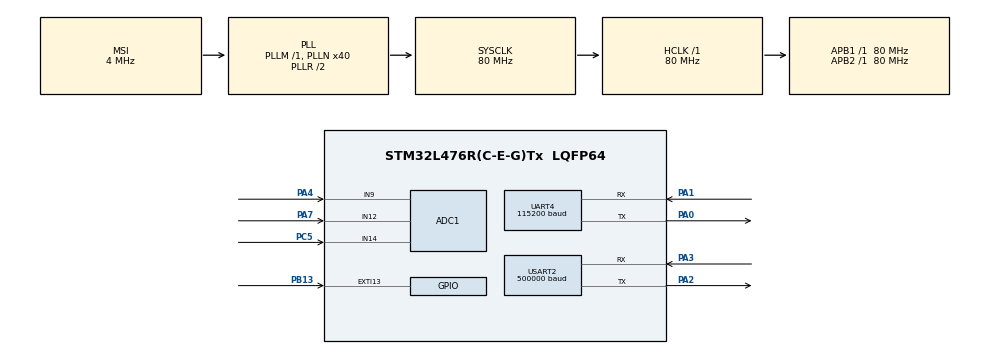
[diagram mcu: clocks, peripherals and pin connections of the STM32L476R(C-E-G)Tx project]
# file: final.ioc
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ADC1.Channel-0\#ChannelRegularConversion=ADC_CHANNEL_9
ADC1.Channel-1\#ChannelRegularConversion=ADC_CHANNEL_12
ADC1.Channel-2\#ChannelRegularConversion=ADC_CHANNEL_14
ADC1.DMAContinuousRequests=ENABLE
ADC1.ExternalTrigConv=ADC_EXTERNALTRIG_T3_TRGO
ADC1.NbrOfConversion=3
ADC1.NbrOfConversionFlag=1
ADC1.OffsetNumber-0\#ChannelRegularConversion=ADC_OFFSET_NONE
ADC1.OffsetNumber-1\#ChannelRegularConversion=ADC_OFFSET_NONE
ADC1.OffsetNumber-2\#ChannelRegularConversion=ADC_OFFSET_NONE
ADC1.Rank-0\#ChannelRegularConversion=1
ADC1.Rank-1\#ChannelRegularConversion=2
ADC1.Rank-2\#ChannelRegularConversion=3
ADC1.SamplingTime-0\#ChannelRegularConversion=ADC_SAMPLETIME_2CYCLES_5
ADC1.SamplingTime-1\#ChannelRegularConversion=ADC_SAMPLETIME_2CYCLES_5
ADC1.SamplingTime-2\#ChannelRegularConversion=ADC_SAMPLETIME_2CYCLES_5
ADC1.master=1
Dma.ADC1.0.Direction=DMA_PERIPH_TO_MEMORY
Dma.ADC1.0.Instance=DMA1_Channel1
Dma.ADC1.0.MemDataAlignment=DMA_MDATAALIGN_WORD
Dma.ADC1.0.MemInc=DMA_MINC_ENABLE
Dma.ADC1.0.Mode=DMA_CIRCULAR
Dma.ADC1.0.PeriphDataAlignment=DMA_PDATAALIGN_WORD
Dma.ADC1.0.PeriphInc=DMA_PINC_DISABLE
Dma.ADC1.0.Priority=DMA_PRIORITY_VERY_HIGH
Dma.Request0=ADC1
Dma.Request1=USART2_TX
Dma.Request2=UART4_TX
Dma.UART4_TX.2.Direction=DMA_MEMORY_TO_PERIPH
Dma.UART4_TX.2.Instance=DMA2_Channel3
Dma.UART4_TX.2.MemDataAlignment=DMA_MDATAALIGN_BYTE
Dma.UART4_TX.2.MemInc=DMA_MINC_ENABLE
Dma.UART4_TX.2.Mode=DMA_NORMAL
Dma.UART4_TX.2.PeriphDataAlignment=DMA_PDATAALIGN_BYTE
Dma.UART4_TX.2.PeriphInc=DMA_PINC_DISABLE
Dma.UART4_TX.2.Priority=DMA_PRIORITY_VERY_HIGH
Dma.USART2_TX.1.Direction=DMA_MEMORY_TO_PERIPH
Dma.USART2_TX.1.Instance=DMA1_Channel7
Dma.USART2_TX.1.MemDataAlignment=DMA_MDATAALIGN_BYTE
Dma.USART2_TX.1.MemInc=DMA_MINC_ENABLE
Dma.USART2_TX.1.Mode=DMA_NORMAL
Dma.USART2_TX.1.PeriphDataAlignment=DMA_PDATAALIGN_BYTE
Dma.USART2_TX.1.PeriphInc=DMA_PINC_DISABLE
Dma.USART2_TX.1.Priority=DMA_PRIORITY_LOW
Mcu.Family=STM32L4
Mcu.Name=STM32L476R(C-E-G)Tx
Mcu.Package=LQFP64
NVIC.DMA1_Channel1_IRQn=true\:0\:0\:false\:false\:true\:false\:true\:true
NVIC.DMA1_Channel7_IRQn=true\:0\:0\:false\:false\:true\:false\:true\:true
NVIC.DMA2_Channel3_IRQn=true\:0\:0\:false\:false\:true\:false\:true\:true
NVIC.EXTI15_10_IRQn=true\:14\:0\:true\:false\:true\:true\:true\:true
NVIC.PriorityGroup=NVIC_PRIORITYGROUP_4
NVIC.UART4_IRQn=true\:0\:0\:false\:false\:true\:true\:true\:true
NVIC.USART2_IRQn=true\:0\:0\:false\:false\:true\:true\:true\:true
PA0.Mode=Asynchronous
PA0.Signal=UART4_TX
PA1.Mode=Asynchronous
PA1.Signal=UART4_RX
PA2.Mode=Asynchronous
PA2.Signal=USART2_TX
PA3.Mode=Asynchronous
PA3.Signal=USART2_RX
PA4.Signal=ADCx_IN9
PA7.Signal=ADCx_IN12
PB13.Signal=GPXTI13
PC5.Signal=ADCx_IN14
ProjectManager.HeapSize=0x200
ProjectManager.StackSize=0x400
ProjectManager.TargetToolchain=STM32CubeIDE
RCC.ADCFreq_Value=32000000
RCC.AHBFreq_Value=80000000
RCC.APB1Freq_Value=80000000
RCC.APB1TimFreq_Value=80000000
RCC.APB2Freq_Value=80000000
RCC.APB2TimFreq_Value=80000000
RCC.CortexFreq_Value=80000000
RCC.HCLKFreq_Value=80000000
RCC.HSE_VALUE=8000000
RCC.HSI_VALUE=16000000
RCC.LSE_VALUE=32768
RCC.MSI_VALUE=4000000
RCC.PLLN=40
RCC.PLLSAI1N=16
RCC.SYSCLKFreq_VALUE=80000000
RCC.SYSCLKSource=RCC_SYSCLKSOURCE_PLLCLK
RCC.USBFreq_Value=32000000
RCC.VCOOutputFreq_Value=160000000
SH.ADCx_IN12.0=ADC1_IN12,IN12-Single-Ended
SH.ADCx_IN14.0=ADC1_IN14,IN14-Single-Ended
SH.ADCx_IN9.0=ADC1_IN9,IN9-Single-Ended
TIM3.Period=999
TIM3.Prescaler=79
TIM3.TIM_MasterOutputTrigger=TIM_TRGO_UPDATE
UART4.BaudRate=115200
USART2.BaudRate=500000
USART2.VirtualMode-Asynchronous=VM_ASYNC
VP_TIM3_VS_ClockSourceINT.Mode=Internal
board=custom

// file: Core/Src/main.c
/* USER CODE BEGIN Header */
/**
  ******************************************************************************
  * @file           : main.c
  * @brief          : Main program body
  ******************************************************************************
  * @attention
  *
  * Copyright (c) 2025 STMicroelectronics.
  * All rights reserved.
  *
  * This software is licensed under terms that can be found in the LICENSE file
  * in the root directory of this software component.
  * If no LICENSE file comes with this software, it is provided AS-IS.
  *
  ******************************************************************************
  */
/* USER CODE END Header */
#include "main.h"

/* USER CODE BEGIN Includes */
#include <stdio.h>
#include <stdlib.h>
#include <string.h>
#include <errno.h>
#include <fcntl.h>
#include <time.h>
#include <assert.h>
#include <math.h>
#include "function.h"
#define ADC_SCALE (3.0f / 4095.0f)  // ≈ 0.0007326
#define MIDPOINT  0.0f

/* USER CODE END Includes */

ADC_HandleTypeDef hadc1;
DMA_HandleTypeDef hdma_adc1;

TIM_HandleTypeDef htim3;

UART_HandleTypeDef huart4;
UART_HandleTypeDef huart2;
DMA_HandleTypeDef hdma_uart4_tx;
DMA_HandleTypeDef hdma_usart2_tx;

void SystemClock_Config(void);
static void MX_GPIO_Init(void);
static void MX_DMA_Init(void);
static void MX_ADC1_Init(void);
static void MX_TIM3_Init(void);
static void MX_USART2_UART_Init(void);
static void MX_UART4_Init(void);

/* USER CODE BEGIN 0 */
static uint32_t ADC_VAL1[300];

 uint8_t UART2_rxBuffer;
uint8_t UART4_rxBuffer;

volatile uint8_t uart_flag = 0;
volatile uint8_t uart_flag2 = 0;
int flag = 0;
static int indext1 = 0;
static float TestData1[300];
static float Wg1[FEATURE_DIM * CLASS];
static float Cg1[CLASS];
static float xmean1[FEATURE_DIM];
static float xstd1[FEATURE_DIM];
volatile uint8_t uart2_tx_busy = 0;
volatile uint8_t uart4_tx_busy = 0;

#define TESTDATA_SIZE 1000
uint32_t indext = 0;
float TestData3[TESTDATA_SIZE];
#define BUFFER_SIZE 10  // Number of recent predictions to keep
int decision_buffer[BUFFER_SIZE] = {0};  // Circular buffer
int buffer_index = 0;                    // Next position to write
int buffer_count = 0;                    // Number of valid entries
char TxData[1000]; // Ensure this is large enough to hold all your formatted data

void RunLDATest()
{
    int test_decision1 = LDA_test(TestData1, Wg1, Cg1, xmean1, xstd1);

    // Store the prediction
    decision_buffer[buffer_index] = test_decision1;

    // Advance the circular buffer index
    buffer_index = (buffer_index + 1) % BUFFER_SIZE;

    // Keep track of how many entries have been added (max = BUFFER_SIZE)
    if (buffer_count < BUFFER_SIZE)
        buffer_count++;

    // Only run majority vote if buffer is full
    if (buffer_count == BUFFER_SIZE)
    {
        int stable_decision = majority_vote(decision_buffer, BUFFER_SIZE);

        // Send result over UART
        char message[32];
        sprintf(message, "$EMG,%d\r\n", stable_decision);

        // Start non-blocking DMA transmission
        HAL_UART_Transmit_DMA(&huart4, (uint8_t *)message, strlen(message));

        buffer_count = 0;
        buffer_index = 0;
    }
}

/* USER CODE END 0 */

int main(void)
{

  /* USER CODE BEGIN 1 */
	float Wg_init[36] = {
	    -0.061729, 0.013269, 0.048292,
	    0.093384, 0.039360, -0.132245,
	    -0.244374, -0.539944, 0.784141,
	    0.004010, -0.162617, 0.158494,
	    -0.016217, -0.995433, 1.011741,
	    -0.494425, -0.140079, 0.634402,
	    0.469116, -0.948453, 0.479279,
	    0.021902, -0.142195, 0.120349,
	    0.089299, 0.073026, -0.162366,
	    -0.055465, -0.007326, 0.062820,
	    0.569342, 0.525542, -1.094890,
	    -0.058503, 0.459798, -0.401316
	};

	float Cg_init[3] = {
	    -0.238958, -1.058885, -1.443440
	};

	float xstd_init[12] = {
	    0.001538, 0.000100, 0.098241, 0.160382,
	    0.010578, 0.003279, 0.134694, 0.158753,
	    0.031725, 0.003627, 0.134304, 0.172376
	};

	float xmean_init[12] = {
	    0.003056, -0.007876, 0.152698, 0.529742,
	    0.012145, -0.005645, 0.333798, 0.674792,
	    0.009707, -0.007128, 0.303869, 0.649921
	};

  /* USER CODE END 1 */

  /* MCU Configuration--------------------------------------------------------*/

  /* Reset of all peripherals, Initializes the Flash interface and the Systick. */
  HAL_Init();

  /* USER CODE BEGIN Init */

  for (int i = 0; i < FEATURE_DIM * CLASS; i++)
  {
            Wg1[i] = Wg_init[i];
        }
        for (int i = 0; i < CLASS; i++) {
            Cg1[i] = Cg_init[i];
        }
        for (int i = 0; i < FEATURE_DIM; i++)
        {
            xmean1[i] = xmean_init[i];
            xstd1[i] = xstd_init[i];
        }

  /* USER CODE END Init */

  /* Configure the system clock */
  SystemClock_Config();

  /* Initialize all configured peripherals */
  MX_GPIO_Init();
  MX_DMA_Init();
  MX_ADC1_Init();
  MX_TIM3_Init();
  MX_USART2_UART_Init();
  MX_UART4_Init();
  /* USER CODE BEGIN 2 */

  if (HAL_ADCEx_Calibration_Start(&hadc1, ADC_SINGLE_ENDED) != HAL_OK)
   {
       Error_Handler();
   }
  HAL_UART_Receive_IT (&huart2, &UART2_rxBuffer, 1);
  //HAL_TIM_Base_Start(&htim3);
  //HAL_ADC_Start_DMA(&hadc1,ADC_VAL, 3);

  /* USER CODE END 2 */

  /* Infinite loop */
  while (1)
  {

  }
}

void SystemClock_Config(void)
{
  RCC_OscInitTypeDef RCC_OscInitStruct = {0};
  RCC_ClkInitTypeDef RCC_ClkInitStruct = {0};

  /** Configure the main internal regulator output voltage
  */
  if (HAL_PWREx_ControlVoltageScaling(PWR_REGULATOR_VOLTAGE_SCALE1) != HAL_OK)
  {
    Error_Handler();
  }

  /** Initializes the RCC Oscillators according to the specified parameters
  * in the RCC_OscInitTypeDef structure.
  */
  RCC_OscInitStruct.OscillatorType = RCC_OSCILLATORTYPE_MSI;
  RCC_OscInitStruct.MSIState = RCC_MSI_ON;
  RCC_OscInitStruct.MSICalibrationValue = 0;
  RCC_OscInitStruct.MSIClockRange = RCC_MSIRANGE_6;
  RCC_OscInitStruct.PLL.PLLState = RCC_PLL_ON;
  RCC_OscInitStruct.PLL.PLLSource = RCC_PLLSOURCE_MSI;
  RCC_OscInitStruct.PLL.PLLM = 1;
  RCC_OscInitStruct.PLL.PLLN = 40;
  RCC_OscInitStruct.PLL.PLLP = RCC_PLLP_DIV7;
  RCC_OscInitStruct.PLL.PLLQ = RCC_PLLQ_DIV2;
  RCC_OscInitStruct.PLL.PLLR = RCC_PLLR_DIV2;
  if (HAL_RCC_OscConfig(&RCC_OscInitStruct) != HAL_OK)
  {
    Error_Handler();
  }

  /** Initializes the CPU, AHB and APB buses clocks
  */
  RCC_ClkInitStruct.ClockType = RCC_CLOCKTYPE_HCLK|RCC_CLOCKTYPE_SYSCLK
                              |RCC_CLOCKTYPE_PCLK1|RCC_CLOCKTYPE_PCLK2;
  RCC_ClkInitStruct.SYSCLKSource = RCC_SYSCLKSOURCE_PLLCLK;
  RCC_ClkInitStruct.AHBCLKDivider = RCC_SYSCLK_DIV1;
  RCC_ClkInitStruct.APB1CLKDivider = RCC_HCLK_DIV1;
  RCC_ClkInitStruct.APB2CLKDivider = RCC_HCLK_DIV1;

  if (HAL_RCC_ClockConfig(&RCC_ClkInitStruct, FLASH_LATENCY_4) != HAL_OK)
  {
    Error_Handler();
  }
}

static void MX_ADC1_Init(void)
{

  ADC_MultiModeTypeDef multimode = {0};
  ADC_ChannelConfTypeDef sConfig = {0};

  /** Common config
  */
  hadc1.Instance = ADC1;
  hadc1.Init.ClockPrescaler = ADC_CLOCK_ASYNC_DIV1;
  hadc1.Init.Resolution = ADC_RESOLUTION_12B;
  hadc1.Init.DataAlign = ADC_DATAALIGN_RIGHT;
  hadc1.Init.ScanConvMode = ADC_SCAN_ENABLE;
  hadc1.Init.EOCSelection = ADC_EOC_SINGLE_CONV;
  hadc1.Init.LowPowerAutoWait = DISABLE;
  hadc1.Init.ContinuousConvMode = DISABLE;
  hadc1.Init.NbrOfConversion = 3;
  hadc1.Init.DiscontinuousConvMode = DISABLE;
  hadc1.Init.ExternalTrigConv = ADC_EXTERNALTRIG_T3_TRGO;
  hadc1.Init.ExternalTrigConvEdge = ADC_EXTERNALTRIGCONVEDGE_RISING;
  hadc1.Init.DMAContinuousRequests = ENABLE;
  hadc1.Init.Overrun = ADC_OVR_DATA_PRESERVED;
  hadc1.Init.OversamplingMode = DISABLE;
  if (HAL_ADC_Init(&hadc1) != HAL_OK)
  {
    Error_Handler();
  }

  /** Configure the ADC multi-mode
  */
  multimode.Mode = ADC_MODE_INDEPENDENT;
  if (HAL_ADCEx_MultiModeConfigChannel(&hadc1, &multimode) != HAL_OK)
  {
    Error_Handler();
  }

  /** Configure Regular Channel
  */
  sConfig.Channel = ADC_CHANNEL_9;
  sConfig.Rank = ADC_REGULAR_RANK_1;
  sConfig.SamplingTime = ADC_SAMPLETIME_2CYCLES_5;
  sConfig.SingleDiff = ADC_SINGLE_ENDED;
  sConfig.OffsetNumber = ADC_OFFSET_NONE;
  sConfig.Offset = 0;
  if (HAL_ADC_ConfigChannel(&hadc1, &sConfig) != HAL_OK)
  {
    Error_Handler();
  }

  /** Configure Regular Channel
  */
  sConfig.Channel = ADC_CHANNEL_12;
  sConfig.Rank = ADC_REGULAR_RANK_2;
  if (HAL_ADC_ConfigChannel(&hadc1, &sConfig) != HAL_OK)
  {
    Error_Handler();
  }

  /** Configure Regular Channel
  */
  sConfig.Channel = ADC_CHANNEL_14;
  sConfig.Rank = ADC_REGULAR_RANK_3;
  if (HAL_ADC_ConfigChannel(&hadc1, &sConfig) != HAL_OK)
  {
    Error_Handler();
  }

}

static void MX_TIM3_Init(void)
{

  TIM_ClockConfigTypeDef sClockSourceConfig = {0};
  TIM_MasterConfigTypeDef sMasterConfig = {0};

  htim3.Instance = TIM3;
  htim3.Init.Prescaler = 79;
  htim3.Init.CounterMode = TIM_COUNTERMODE_UP;
  htim3.Init.Period = 999;
  htim3.Init.ClockDivision = TIM_CLOCKDIVISION_DIV1;
  htim3.Init.AutoReloadPreload = TIM_AUTORELOAD_PRELOAD_DISABLE;
  if (HAL_TIM_Base_Init(&htim3) != HAL_OK)
  {
    Error_Handler();
  }
  sClockSourceConfig.ClockSource = TIM_CLOCKSOURCE_INTERNAL;
  if (HAL_TIM_ConfigClockSource(&htim3, &sClockSourceConfig) != HAL_OK)
  {
    Error_Handler();
  }
  sMasterConfig.MasterOutputTrigger = TIM_TRGO_UPDATE;
  sMasterConfig.MasterSlaveMode = TIM_MASTERSLAVEMODE_DISABLE;
  if (HAL_TIMEx_MasterConfigSynchronization(&htim3, &sMasterConfig) != HAL_OK)
  {
    Error_Handler();
  }

}

static void MX_UART4_Init(void)
{

  huart4.Instance = UART4;
  huart4.Init.BaudRate = 115200;
  huart4.Init.WordLength = UART_WORDLENGTH_8B;
  huart4.Init.StopBits = UART_STOPBITS_1;
  huart4.Init.Parity = UART_PARITY_NONE;
  huart4.Init.Mode = UART_MODE_TX_RX;
  huart4.Init.HwFlowCtl = UART_HWCONTROL_NONE;
  huart4.Init.OverSampling = UART_OVERSAMPLING_16;
  huart4.Init.OneBitSampling = UART_ONE_BIT_SAMPLE_DISABLE;
  huart4.AdvancedInit.AdvFeatureInit = UART_ADVFEATURE_NO_INIT;
  if (HAL_UART_Init(&huart4) != HAL_OK)
  {
    Error_Handler();
  }

}

static void MX_USART2_UART_Init(void)
{

  huart2.Instance = USART2;
  huart2.Init.BaudRate = 500000;
  huart2.Init.WordLength = UART_WORDLENGTH_8B;
  huart2.Init.StopBits = UART_STOPBITS_1;
  huart2.Init.Parity = UART_PARITY_NONE;
  huart2.Init.Mode = UART_MODE_TX_RX;
  huart2.Init.HwFlowCtl = UART_HWCONTROL_NONE;
  huart2.Init.OverSampling = UART_OVERSAMPLING_16;
  huart2.Init.OneBitSampling = UART_ONE_BIT_SAMPLE_DISABLE;
  huart2.AdvancedInit.AdvFeatureInit = UART_ADVFEATURE_NO_INIT;
  if (HAL_UART_Init(&huart2) != HAL_OK)
  {
    Error_Handler();
  }

}

static void MX_DMA_Init(void)
{

  /* DMA controller clock enable */
  __HAL_RCC_DMA1_CLK_ENABLE();
  __HAL_RCC_DMA2_CLK_ENABLE();

  /* DMA interrupt init */
  /* DMA1_Channel1_IRQn interrupt configuration */
  HAL_NVIC_SetPriority(DMA1_Channel1_IRQn, 0, 0);
  HAL_NVIC_EnableIRQ(DMA1_Channel1_IRQn);
  /* DMA1_Channel7_IRQn interrupt configuration */
  HAL_NVIC_SetPriority(DMA1_Channel7_IRQn, 0, 0);
  HAL_NVIC_EnableIRQ(DMA1_Channel7_IRQn);
  /* DMA2_Channel3_IRQn interrupt configuration */
  HAL_NVIC_SetPriority(DMA2_Channel3_IRQn, 0, 0);
  HAL_NVIC_EnableIRQ(DMA2_Channel3_IRQn);

}

static void MX_GPIO_Init(void)
{
  GPIO_InitTypeDef GPIO_InitStruct = {0};

  /* GPIO Ports Clock Enable */
  __HAL_RCC_GPIOA_CLK_ENABLE();
  __HAL_RCC_GPIOC_CLK_ENABLE();
  __HAL_RCC_GPIOB_CLK_ENABLE();

  /*Configure GPIO pin : PB13 */
  GPIO_InitStruct.Pin = GPIO_PIN_13;
  GPIO_InitStruct.Mode = GPIO_MODE_IT_RISING;
  GPIO_InitStruct.Pull = GPIO_NOPULL;
  HAL_GPIO_Init(GPIOB, &GPIO_InitStruct);

  /* EXTI interrupt init*/
  HAL_NVIC_SetPriority(EXTI15_10_IRQn, 14, 0);
  HAL_NVIC_EnableIRQ(EXTI15_10_IRQn);

}

/* USER CODE BEGIN 4 */

void HAL_GPIO_EXTI_Callback(uint16_t GPIO_Pin)
{
  if((GPIO_Pin == GPIO_PIN_13)&&(flag==0))
  {

	  HAL_TIM_Base_Start(&htim3);
	  HAL_ADC_Start_DMA(&hadc1, ADC_VAL1, 300);
	  uart_flag = 0;
	  uart_flag2 = 1;
	  flag = 1;
  }

}

// Global receive buffers
uint8_t UART2_rxBuffer;
uint8_t UART4_rxBuffer;

void HAL_UART_RxCpltCallback(UART_HandleTypeDef *huart)
{

	HAL_UART_Transmit(&huart2, (uint8_t *)"UART2 received: ", 16, 100);
	HAL_UART_Transmit(&huart2, &UART2_rxBuffer, 1, 100);
	HAL_UART_Transmit(&huart2, (uint8_t *)"\r\n", 2, 100);

	// ADC Collection Only
	if (UART2_rxBuffer == 'z') {
		HAL_TIM_Base_Start(&htim3);
		HAL_ADC_Start_DMA(&hadc1, ADC_VAL1, 300);
		indext1 = 0;
		uart_flag = 1;
		uart_flag2 =0;
	}
	// Real Time Only
	else if (UART2_rxBuffer == 'x') {
		HAL_TIM_Base_Start(&htim3);
		HAL_ADC_Start_DMA(&hadc1, ADC_VAL1, 300);
		indext1 = 0;
		uart_flag = 0;
		uart_flag2 = 1;
	}
	// Real Time and ADC collection
	else if (UART2_rxBuffer == 'c')
	{
		HAL_TIM_Base_Start(&htim3);
		HAL_ADC_Start_DMA(&hadc1, ADC_VAL1, 300);
		indext1 = 0;
		uart_flag = 1;
		uart_flag2 = 1;
	}
	else
	{
		HAL_TIM_Base_Stop(&htim3);
		HAL_ADC_Stop_DMA(&hadc1);
		indext1 = 0;
		uart_flag = 0;
		uart_flag2 = 0;
	}
	HAL_UART_Receive_IT(&huart2, &UART2_rxBuffer, 1);

}

void HAL_ADC_ConvHalfCpltCallback(ADC_HandleTypeDef *hadc)
{
    if (uart_flag == 1)
    {

    	for (int i = 0; i < 150; i++)
    	    {
    	        TestData3[i] = ADC_VAL1[i];
    	    }

    	    // --- 2. Format into comma-separated string triplets
    	    char *ptr = TxData;
    	    for (int i = 0; i < 150; i += 3)
    	    {
    	        if (i + 2 < 150)
    	        {
    	            int len = sprintf(ptr, "%d,%d,%d\r\n",
    	                              (int)TestData3[i],
    	                              (int)TestData3[i + 1],
    	                              (int)TestData3[i + 2]);

    	            ptr += len;
    	        }
    	    }

    	    // --- 3. Transmit formatted data over UART using DMA
    	    uint32_t data_len = ptr - TxData;
    	    HAL_UART_Transmit_DMA(&huart2, (uint8_t *)TxData, data_len);
    }

    if (uart_flag2 == 1)
        {

        // Store ADC values from first half of DMA buffer
        if (indext1 < 300)
        {
            for (int i = 0; i < 150; i++) {
                TestData1[indext1 + i] = ((float)ADC_VAL1[i] * ADC_SCALE) - MIDPOINT;

            }
            indext1 += 150;
        }
        else
        {
            // Shift old values
            for (int i = 0; i < 150; i++) {
                TestData1[i] = TestData1[i + 150];
            }

            // Add new samples to end
            for (int i = 0; i < 150; i++) {
                TestData1[150 + i] = ((float)ADC_VAL1[i] * ADC_SCALE) - MIDPOINT;
            }

            RunLDATest();  // Run your classifier here
        }
        }
}

void HAL_ADC_ConvCpltCallback(ADC_HandleTypeDef *hadc)
{

		  if (uart_flag == 1)
		      {

		      	for (int i = 0; i < 150; i++)
		      	    {
		      	        TestData3[i] = ADC_VAL1[i+150];
		      	    }

		      	    // --- 2. Format into comma-separated string triplets
		      	    char *ptr = TxData;
		      	    for (int i = 0; i < 150; i += 3)
		      	    {
		      	        if (i + 2 < 150)
		      	        {
		      	            int len = sprintf(ptr, "%d,%d,%d\r\n",
		      	                              (int)TestData3[i],
		      	                              (int)TestData3[i + 1],
		      	                              (int)TestData3[i + 2]);

		      	            ptr += len;
		      	        }
		      	    }

		      	    // --- 3. Transmit formatted data over UART using DMA
		      	    uint32_t data_len = ptr - TxData;
		      	    HAL_UART_Transmit_DMA(&huart2, (uint8_t *)TxData, data_len);

	    }
	  if (uart_flag2 == 1)
	  	    {

	    	 if (indext1 <300)
	    	    {
	    	        for (int i = 0; i < 150; i++)
	    	        {
	    	            TestData1[indext1 + i] = ((float)ADC_VAL1[i + 150] * ADC_SCALE) - MIDPOINT; // Fix: Correct indexing
	    	        }

	    	        indext1 += 150;
	    	    }
	    	    else
	    	    {
	    	        // Shift left (remove oldest values)
	    	        for (int i = 0; i < 150; i++)  // Fix: Stop at index 21 to prevent out-of-bounds
	    	        {
	    	            TestData1[i] = TestData1[i + 150];
	    	        }

	    	        // Add new values to the end
	    	        for (int i = 0; i < 150; i++)
	    	        {
	    	            TestData1[150 + i] = ((float)ADC_VAL1[i + 150] * ADC_SCALE) - MIDPOINT;

	    	        }
	    	        RunLDATest();

	    	    }
	  	    }
}

/* USER CODE END 4 */

void Error_Handler(void)
{
  __disable_irq();
  while (1)
  {
  }
}
